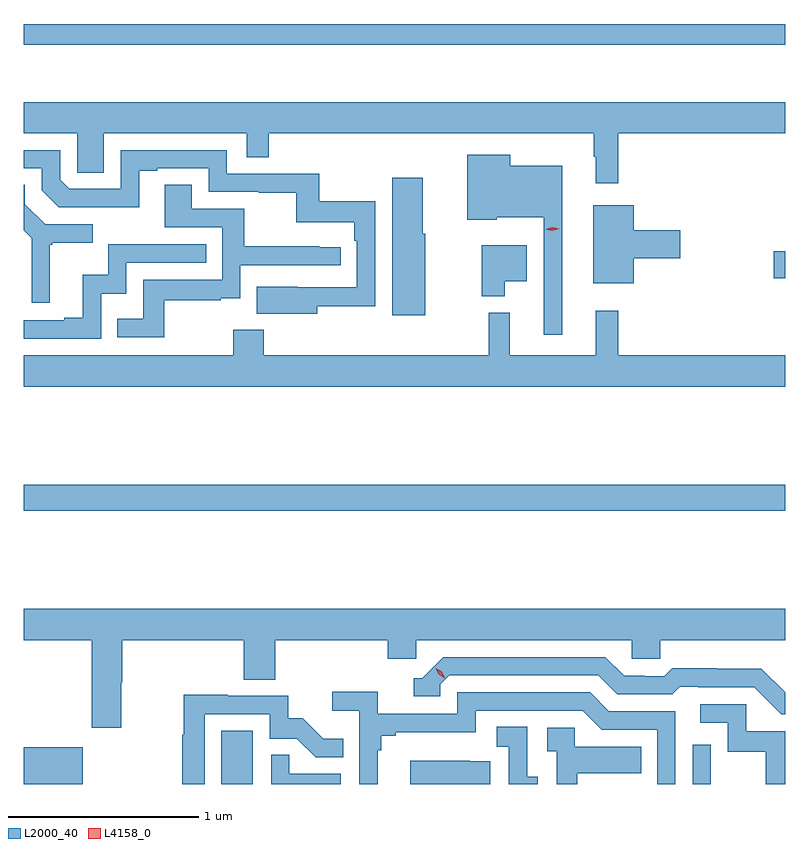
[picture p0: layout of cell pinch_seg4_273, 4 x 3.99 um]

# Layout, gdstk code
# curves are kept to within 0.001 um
import gdstk
lib = gdstk.Library(unit=1e-6, precision=1e-09)
def R(c, l, rs):  # rectangles x0, y0, x1, y1
    for r in rs: c.add(gdstk.rectangle(r[:2], r[2:], *l))
def P(c, l, *ps):  # polygons
    for p in ps: c.add(gdstk.Polygon(p, *l))
L2000_40 = (2000, 40)
L4158_0 = (4158, 0)

pinch_seg4_273 = lib.new_cell('pinch_seg4_273')
R(pinch_seg4_273, L2000_40, [(937.286,809.384,937.594,809.578), (938.324,809.384,938.488,809.665), (940.8,809.384,940.896,809.59), (937.286,810.82,941.286,810.956), (941.226,812.041,941.286,812.183), (937.286,813.27,941.286,813.378)])
P(pinch_seg4_273, L2000_40, [(940.409,812.804),(941.286,812.804),(941.286,812.968),(937.286,812.968),(937.286,812.804),(937.566,812.804),(937.566,812.596),(937.705,812.596),(937.705,812.804),(938.457,812.804),(938.457,812.677),(938.573,812.677),(938.573,812.804),(940.281,812.804),(940.281,812.681),(940.292,812.681),(940.292,812.541),(940.409,812.541)],
  [(938.827,811.894),(939.132,811.894),(939.132,812.446),(938.839,812.446),(938.839,812.592),(938.352,812.592),(938.352,812.715),(937.794,812.715),(937.794,812.511),(937.524,812.511),(937.476,812.559),(937.476,812.715),(937.286,812.715),(937.286,812.619),(937.38,812.619),(937.38,812.505),(937.47,812.415),(937.891,812.414),(937.891,812.607),(937.987,812.607),(937.987,812.619),(938.256,812.619),(938.256,812.496),(938.521,812.496),(938.521,812.491),(938.718,812.491),(938.718,812.336),(939.023,812.336),(939.023,812.24),(939.036,812.24),(939.036,811.995),(938.509,811.996),(938.509,811.856),(938.827,811.856)],
  [(940.114,812.632),(939.841,812.632),(939.841,812.692),(939.617,812.692),(939.617,812.348),(939.771,812.348),(939.771,812.363),(940.017,812.363),(940.017,811.746),(940.114,811.746)],
  [(939.394,812.277),(939.382,812.277),(939.382,812.569),(939.221,812.569),(939.221,811.848),(939.394,811.848)],
  [(937.423,812.217),(937.435,812.217),(937.435,812.228),(937.648,812.228),(937.648,812.325),(937.398,812.325),(937.291,812.432),(937.291,812.534),(937.286,812.534),(937.286,812.293),(937.326,812.253),(937.326,811.914),(937.423,811.914)],
  [(938.023,811.926),(938.321,811.926),(938.321,811.937),(938.424,811.937),(938.424,812.109),(938.95,812.109),(938.95,812.205),(938.837,812.205),(938.837,812.21),(938.444,812.21),(938.444,812.406),(938.167,812.406),(938.167,812.534),(938.027,812.534),(938.027,812.31),(938.328,812.31),(938.328,812.034),(937.912,812.034),(937.912,811.828),(937.777,811.828),(937.777,811.731),(938.023,811.731)],
  [(940.492,812.147),(940.735,812.147),(940.735,812.294),(940.492,812.294),(940.492,812.425),(940.277,812.425),(940.277,812.015),(940.492,812.015)],
  [(937.692,811.961),(937.824,811.961),(937.824,812.124),(938.243,812.124),(938.243,812.22),(937.728,812.22),(937.728,812.059),(937.595,812.059),(937.595,811.834),(937.499,811.834),(937.499,811.821),(937.286,811.821),(937.286,811.725),(937.692,811.725)],
  [(939.814,812.027),(939.928,812.027),(939.928,812.215),(939.692,812.215),(939.692,811.946),(939.814,811.946)],
  [(941.286,811.636),(940.409,811.636),(940.409,811.87),(940.292,811.87),(940.292,811.636),(939.839,811.636),(939.839,811.861),(939.729,811.861),(939.729,811.636),(938.546,811.636),(938.546,811.771),(938.386,811.771),(938.386,811.636),(937.286,811.636),(937.286,811.472),(941.286,811.472)],
  [(937.286,810.14),(937.642,810.14),(937.642,809.679),(937.797,809.679),(937.797,809.918),(937.802,809.918),(937.802,810.14),(938.441,810.14),(938.441,809.932),(938.606,809.932),(938.606,810.14),(939.197,810.14),(939.197,810.042),(939.348,810.042),(939.348,810.14),(940.479,810.14),(940.479,810.042),(940.629,810.042),(940.629,810.14),(941.286,810.14),(941.286,810.304),(937.286,810.304)],
  [(941.286,809.865),(941.162,809.989),(940.926,809.989),(940.926,809.992),(940.693,809.992),(940.651,809.949),(940.548,809.949),(940.548,809.952),(940.441,809.952),(940.342,810.051),(939.489,810.051),(939.378,809.94),(939.335,809.94),(939.335,809.844),(939.474,809.844),(939.474,809.907),(939.522,809.955),(940.305,809.955),(940.404,809.856),(940.693,809.856),(940.732,809.895),(940.831,809.895),(940.831,809.892),(941.124,809.892),(941.265,809.751),(941.286,809.751)],
  [(939.145,809.561),(939.164,809.561),(939.164,809.638),(939.241,809.638),(939.241,809.657),(939.66,809.657),(939.66,809.769),(940.224,809.769),(940.323,809.67),(940.614,809.67),(940.614,809.384),(940.71,809.384),(940.71,809.766),(940.36,809.766),(940.261,809.865),(939.564,809.865),(939.564,809.754),(939.146,809.754),(939.146,809.87),(938.907,809.87),(938.907,809.768),(939.048,809.768),(939.048,809.384),(939.145,809.384)],
  [(938.235,809.751),(938.577,809.751),(938.577,809.622),(938.721,809.622),(938.819,809.524),(938.963,809.524),(938.963,809.623),(938.859,809.623),(938.752,809.73),(938.676,809.73),(938.676,809.847),(938.357,809.847),(938.357,809.852),(938.127,809.852),(938.127,809.644),(938.119,809.644),(938.119,809.384),(938.235,809.384)],
  [(941.286,809.661),(941.082,809.661),(941.082,809.802),(940.839,809.802),(940.839,809.706),(940.986,809.706),(940.986,809.553),(941.185,809.553),(941.185,809.384),(941.286,809.384)],
  [(939.985,809.421),(939.93,809.421),(939.93,809.684),(939.771,809.684),(939.771,809.581),(939.834,809.581),(939.834,809.384),(939.985,809.384)],
  [(940.195,809.441),(940.529,809.441),(940.529,809.581),(940.182,809.581),(940.182,809.679),(940.035,809.679),(940.035,809.555),(940.086,809.555),(940.086,809.384),(940.195,809.384)],
  [(938.95,809.439),(938.681,809.439),(938.681,809.537),(938.586,809.537),(938.586,809.384),(938.95,809.384)],
  [(939.737,809.503),(939.629,809.503),(939.629,809.506),(939.315,809.506),(939.315,809.384),(939.737,809.384)])
P(pinch_seg4_273, L4158_0, [(940.063,812.291),(940.027,812.299),(940.027,812.299),(940.027,812.3),(940.062,812.311),(940.098,812.303),(940.099,812.303),(940.098,812.303)],
  [(939.498,809.941),(939.467,809.96),(939.451,809.993),(939.451,809.993),(939.451,809.993),(939.482,809.974),(939.498,809.941),(939.498,809.941)])

lib.write_gds('pinch_seg4_273.gds')
